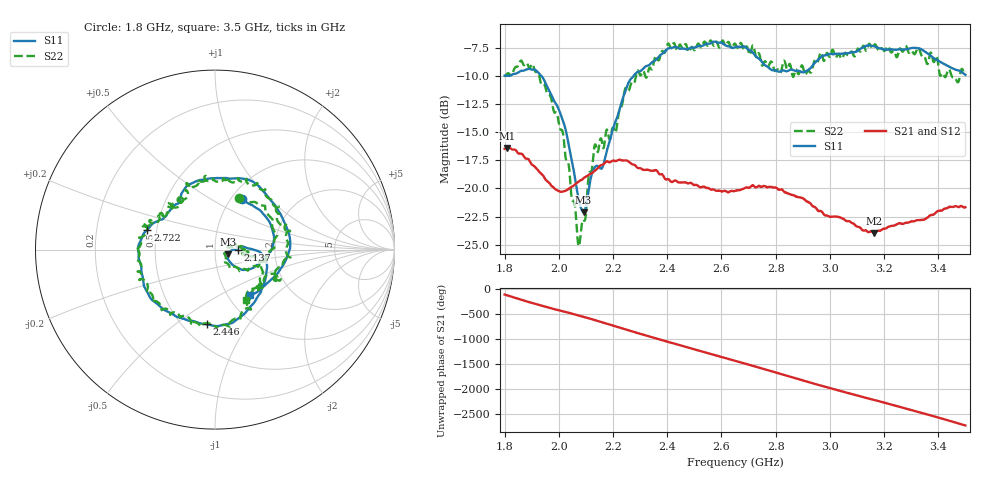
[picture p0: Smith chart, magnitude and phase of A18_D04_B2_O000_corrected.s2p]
! Created with skrf 1.9.0 (http://scikit-rf.org).
# Hz S RI R 50.0
!freq ReS11 ImS11 ReS21 ImS21 ReS12 ImS12 ReS22 ImS22
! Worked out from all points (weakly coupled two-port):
!   1601 points, 1.8 GHz to 3.5 GHz, reference 50 ohm
!   highest |S21| = -16.40 dB at 1.81 GHz (marker M1); lowest = -24.0 dB at 3.163 GHz (marker M2)
!   lowest |S11| = -22.1 dB at 2.091 GHz (marker M3), VSWR 1.17, Z = 57.9 - j2.97 ohm
!   |S11| at or under -10 dB: 1.936 GHz to 2.276 GHz (339.6 MHz wide, 16.1 % of centre)
!   |S22| runs from -25.1 to -6.8 dB; largest |S21 - S12| = 0.0025
!   S11 on the Smith chart (normalised r, x): 1.8 GHz: 1.13, +0.70; 2.137 GHz: 1.29, -0.00; 2.446 GHz: 0.65, -0.66; 2.722 GHz: 0.44, +0.12; 3.5 GHz: 1.26, -0.71
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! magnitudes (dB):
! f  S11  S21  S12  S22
! 1.8 GHz  -10.0  -16.5  -16.5  -10.0
! 1.81 GHz  -10.0  -16.4  -16.4  -9.8
! 1.902 GHz  -9.4  -17.9  -17.9  -8.9
! 1.967 GHz  -11.4  -19.6  -19.6  -11.7
! 2.015 GHz  -13.9  -20.3  -20.3  -15.0
! 2.071 GHz  -20.7  -19.4  -19.4  -24.9
! 2.084 GHz  -21.8  -19.2  -19.2  -23.3
! 2.091 GHz  -22.1  -19.1  -19.1  -22.8
! 2.137 GHz  -18.0  -18.4  -18.3  -16.2
! 2.163 GHz  -18.0  -17.9  -17.8  -16.4
! 2.209 GHz  -14.0  -17.6  -17.5  -15.0
! 2.26 GHz  -10.5  -17.7  -17.7  -11.2
! 2.367 GHz  -8.3  -18.6  -18.6  -8.6
! 2.446 GHz  -7.6  -19.5  -19.5  -7.2
! 2.65 GHz  -7.5  -20.2  -20.2  -7.1
! 2.722 GHz  -8.1  -19.8  -19.8  -7.8
! 2.803 GHz  -9.5  -19.9  -20.0  -9.5
! 2.934 GHz  -9.1  -21.5  -21.5  -9.5
! 3.163 GHz  -7.3  -24.0  -23.9  -7.2
! 3.217 GHz  -7.6  -23.4  -23.4  -7.4
! 3.331 GHz  -7.6  -22.8  -22.8  -7.7
! 3.5 GHz  -9.9  -21.7  -21.7  -9.6
